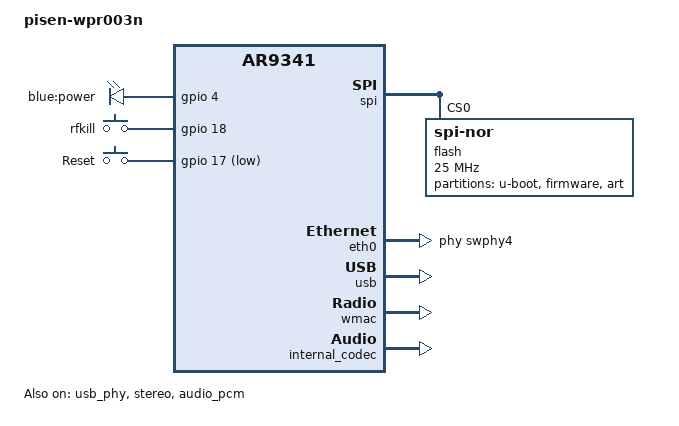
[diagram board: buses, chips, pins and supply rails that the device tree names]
// SPDX-License-Identifier: GPL-2.0-or-later OR MIT

#include "ar9341.dtsi"

#include <dt-bindings/gpio/gpio.h>
#include <dt-bindings/input/input.h>

/ {
	model = "PISEN WPR003N";
	compatible = "pisen,wpr003n", "qca,ar9341";

	aliases {
		led-boot = &led_power;
		led-failsafe = &led_power;
		led-running = &led_power;
		led-upgrade = &led_power;
		label-mac-device = &wmac;
	};

	leds {
		compatible = "gpio-leds";

		led_power: power {
			label = "blue:power";
			gpios = <&gpio 4 GPIO_ACTIVE_HIGH>;
			default-state = "on";
		};

	};

	keys {
		compatible = "gpio-keys";

		rfkill {
			label = "rfkill";
			linux,code = <KEY_RFKILL>;
			linux,input-type = <EV_SW>;
			gpios = <&gpio 18 GPIO_ACTIVE_HIGH>;
			debounce-interval = <60>;
		};

		reset {
			label = "Reset";
			linux,code = <KEY_RESTART>;
			gpios = <&gpio 17 GPIO_ACTIVE_LOW>;
			debounce-interval = <60>;
		};
	};
};

&spi {
	status = "okay";

	flash@0 {
		compatible = "jedec,spi-nor";
		reg = <0>;
		spi-max-frequency = <25000000>;

		partitions {
			compatible = "fixed-partitions";
			#address-cells = <1>;
			#size-cells = <1>;

			uboot: partition@0 {
				label = "u-boot";
				reg = <0x000000 0x020000>;
				read-only;
			};

			partition@20000 {
				compatible = "tplink,firmware";
				label = "firmware";
				reg = <0x020000 0xfd0000>;
			};

			art: partition@ff0000 {
				label = "art";
				reg = <0xff0000 0x010000>;
				read-only;
			};
		};
	};
};

&eth0 {
	status = "okay";

	phy-handle = <&swphy4>;

	mtd-mac-address = <&uboot 0x1fc00>;
	mtd-mac-address-increment = <(-1)>;
};

&eth1 {
	mtd-mac-address = <&uboot 0x1fc00>;

	gmac-config {
		device = <&gmac>;
		switch-phy-only_mode = <0>;
	};
};

&usb {
	status = "okay";
};

&usb_phy {
	status = "okay";
};

&wmac {
	status = "okay";
	mtd-cal-data = <&art 0x1000>;
};

&pll_audio {
	status = "okay";
};

&mbox {
	status = "okay";
};

&stereo {
	status = "okay";
};

&internal_codec {
	status = "okay";
};

&audio_pcm {
	status = "okay";
};

/*
 * AKM AK4430 codec (HW-mode, no I2C, see syb999's mach-pisen-wpr003n.c).
 * Wired to the I2S bus via GPIOs 11..14 (multiplexed onto
 * AR934X_GPIO_OUT_MUX_I2S_*).
 */
ak4430: ak4430-codec {
	compatible = "qca,ak4430";
	status = "okay";
};

/*
 * The ASoC machine card binds the AR9341 I2S controller to the
 * AK4430 codec. The DT phandles are resolved by the qca-pisen-wpr003n
 * machine driver at probe time.
 */
sound: sound {
	compatible = "pisen,wpr003n-snd", "qca,ar9341";

	cpu-dai = <&stereo>;
	codec-dai = <&ak4430>;

	model = "pisen-wpr003n";
};
